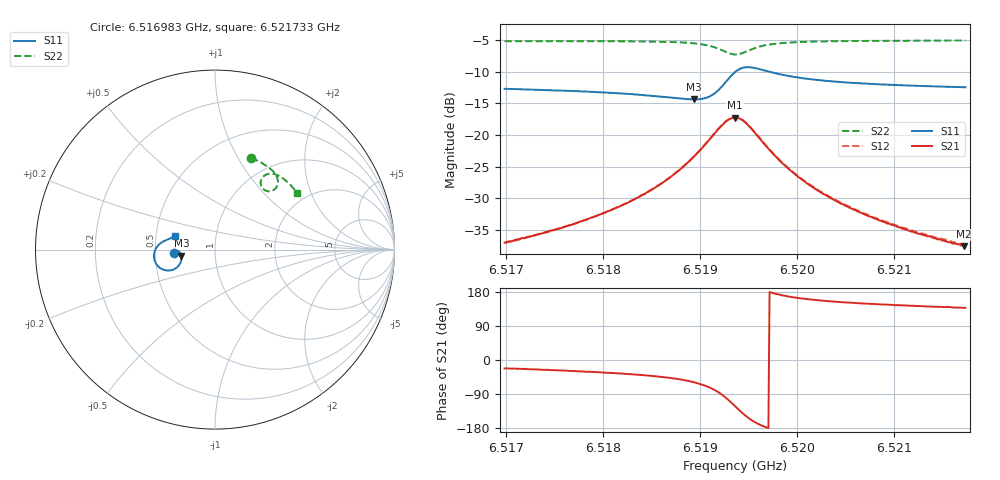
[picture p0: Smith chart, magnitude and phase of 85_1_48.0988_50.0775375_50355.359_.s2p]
#  HZ  S  RI  R  50.00
! Rohde & Schwarz Vector Network Analyzer
! Rohde-Schwarz,ZNB20-2Port,1311601062101988,3.16
! Created: UTC 12/23/2023, 3:43:10 AM
! freq[Hz]  re:S11  im:S11  re:S21  im:S21  re:S12  im:S12  re:S22  im:S22
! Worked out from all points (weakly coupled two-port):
!   401 points, 6.516983 GHz to 6.521733 GHz, reference 50 ohm
!   highest |S21| = -17.25 dB at 6.519358 GHz (marker M1); lowest = -37.5 dB at 6.521721 GHz (marker M2)
!   lowest |S11| = -14.4 dB at 6.518931 GHz (marker M3), VSWR 1.47, Z = 34.1 - j2.43 ohm
!   |S11| at or under -10 dB: start of sweep to 6.519364 GHz; 6.519707 GHz to end of sweep
!   |S22| runs from -7.3 to -5.1 dB; largest |S21 - S12| = 0.0042
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6.516983e9  -0.2306 -0.0177  0.0132 -0.00538  0.0132 -0.00481  0.2022 0.5097
6.5173749e9  -0.2263 -0.0119  0.0151 -0.00731  0.0154 -0.00682  0.2313 0.4976
6.5177787e9  -0.2205 -0.00724  0.018 -0.0106  0.0185 -0.00992  0.2611 0.4827
6.5182537e9  -0.2109 -0.00517  0.0234 -0.0177  0.024 -0.0169  0.2969 0.4599
6.5185744e9  -0.2011 -0.00961  0.0291 -0.0279  0.0301 -0.0272  0.3218 0.4386
6.5187644e9  -0.1939 -0.0181  0.0331 -0.0394  0.0343 -0.0386  0.3367 0.4206
6.5189306e9  -0.1877 -0.0343  0.0351 -0.0569  0.0371 -0.0563  0.3477 0.3979
6.5190494e9  -0.1872 -0.0553  0.0318 -0.0776  0.0344 -0.077  0.3506 0.3749
6.5191325e9  -0.1941 -0.0768  0.0224 -0.0971  0.0254 -0.0971  0.3459 0.3545
6.5192631e9  -0.2365 -0.1129  -0.0209 -0.1255  -0.0175 -0.1271  0.3132 0.3262
6.5193581e9  -0.2938 -0.1092  -0.0722 -0.1167  -0.0694 -0.1197  0.2735 0.3333
6.5194056e9  -0.3186 -0.091  -0.0924 -0.0979  -0.0904 -0.1012  0.2595 0.3493
6.519465e9  -0.3366 -0.0598  -0.1047 -0.069  -0.1036 -0.0724  0.2539 0.3732
6.51956e9  -0.3373 -0.0143  -0.1006 -0.0296  -0.1005 -0.0328  0.2658 0.4036
6.5196669e9  -0.3216 0.0172  -0.0837 -0.00527  -0.0843 -0.00757  0.2887 0.4194
6.5199044e9  -0.2891 0.0447  -0.0534 0.0115  -0.0542 0.0101  0.3298 0.4209
6.5201538e9  -0.2689 0.0541  -0.0366 0.0138  -0.0373 0.013  0.3588 0.4096
6.5204982e9  -0.2525 0.0609  -0.0244 0.013  -0.0252 0.0124  0.3875 0.3903
6.5209495e9  -0.2396 0.0674  -0.0164 0.0113  -0.0171 0.011  0.417 0.3635
6.5212226e9  -0.2337 0.0713  -0.0135 0.0102  -0.0141 0.01  0.4322 0.3471
6.5217214e9  -0.2249 0.0782  -0.00989 0.0089  -0.0103 0.00882  0.4575 0.3163
6.5217333e9  -0.2247 0.0783  -0.00987 0.00899  -0.0103 0.00888  0.4579 0.3157
